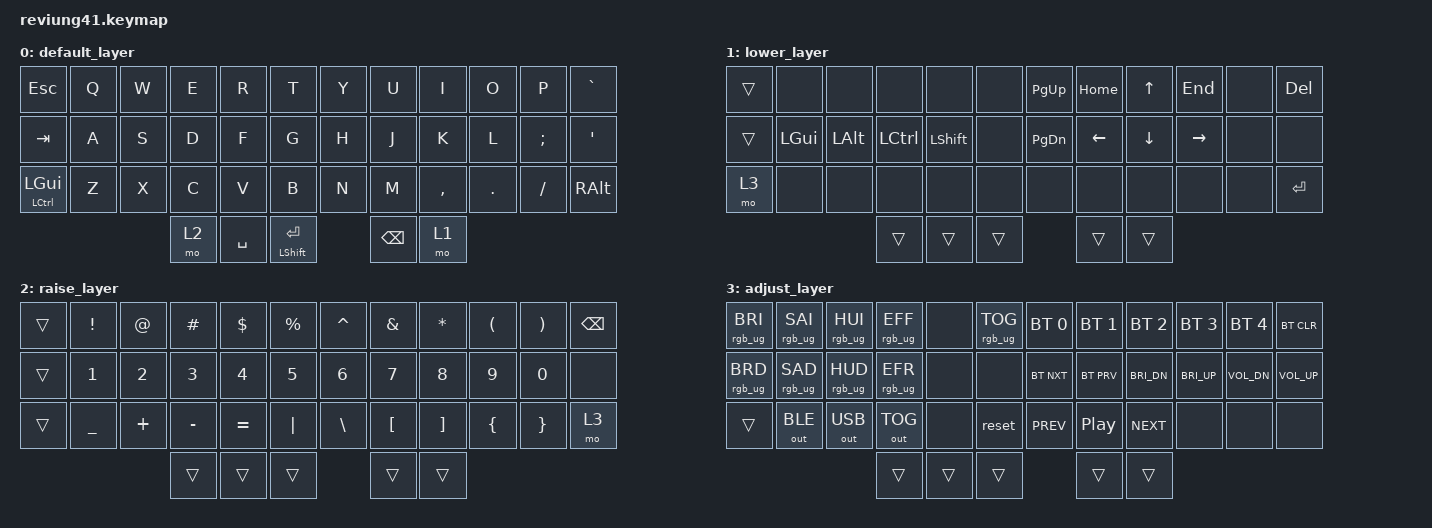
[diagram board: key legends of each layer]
/*
 * Copyright (c) 2020 The ZMK Contributors
 *
 * SPDX-License-Identifier: MIT
 */

#include <behaviors.dtsi>
#include <dt-bindings/zmk/keys.h>
#include <dt-bindings/zmk/bt.h>
#include <dt-bindings/zmk/rgb.h>
#include <dt-bindings/zmk/outputs.h>

/ {
        keymap {
                compatible = "zmk,keymap";

                default_layer {
// -------------------------------------------------------------------------------------
// | ESC |  Q  |  W  |  E  |  R  |  T  |   |  Y  |  U   |  I  |  O  |  P  |   GRAVE    |
// | TAB |  A  |  S  |  D  |  F  |  G  |   |  H  |  J   |  K  |  L  |  ;  |    '      |
// | LCTRL & LGUI |  Z  |  X  |  C  |  V  |  B  |   |  N  |  M   |  ,  |  .  |  /  | LALT |
//                        | RSE | SPC | MT(LEFT_SHIFT, RET) | BSPC  | LWR |
                        bindings = <
   &kp ESC   &kp Q &kp W &kp E &kp R &kp T   &kp Y &kp U  &kp I     &kp O   &kp P    &kp GRAVE
   &kp TAB   &kp A &kp S &kp D &kp F &kp G   &kp H &kp J  &kp K     &kp L   &kp SEMI &kp SQT
   &mt LCTRL LGUI  &kp Z &kp X &kp C &kp V &kp B   &kp N &kp M  &kp COMMA &kp DOT &kp FSLH &kp RALT
                        &mo 2 &kp SPC &mt LSHFT RET &kp BSPC &mo 1
                        >;
                };

                lower_layer {
// ----------------------------------------------------------------------------------
// |    |    |    |   |    |    |  |  PG_UP  |  HOME  | UP | END |    | DELETE   |
// |    |  LEFT_GUI  |  LEFT_ALT  |  LEFT_CONTROL  |  LEFT_SHIFT  | "|" |   | PG_Dn | LFT |  DWN | RGT |     |       |
// |    |  |  |  | |    |   | |  | | | | RET |
//                       | ADJ  |     | MT(LEFT_SHIFT, RET) |  |     |
                        bindings = <
   &trans &none  &none      &none &none &none      &kp PG_UP &kp HOME &kp UP    &kp END  &none  &kp DEL
   &trans &kp LGUI &kp LALT &kp LCTRL &kp LSHFT &none     &kp PG_DN  &kp LEFT &kp DOWN    &kp RIGHT &none &none
   &mo 3 &none   &none    &none &none &none        &none  &none  &none &none &none &kp RET
                                 &trans      &trans       &trans        &trans       &trans
                        >;
                };

                raise_layer {
// -----------------------------------------------------------------------------------------
// |    |  1  |  2  |  3  |  4  |  5  |   |  6  |  7  |  8  |  9  |  0  |  BACKSPACE   |
// |    |  !  |  @  |  #  |  $  |  %  |   |  ^  |  &  |  *  |  (  |  )  |     |
// |    |  _  |  +  |  -  |  =  |  |  |   |  \  |  [  |  ]  |  {  |  }  |  RETURN   |
//                       |     |  | MT(LEFT_SHIFT, RET) |    | ADJ |
                        bindings = <
   &trans &kp EXCL &kp AT &kp HASH &kp DLLR &kp PERCENT        &kp CARET &kp AMPS &kp ASTRK &kp LPAR &kp RPAR &kp BSPC
   &trans &kp N1 &kp N2 &kp N3  &kp N4  &kp N5      &kp N6    &kp N7    &kp N8    &kp N9    &kp N0    &none 
   &trans &kp UNDER   &kp PLUS  &kp MINUS  &kp EQUAL  &kp PIPE       &kp BACKSLASH    &kp LBKT     &kp RBKT    &kp LBRC   &kp RBRC   &mo 3
                                &trans      &trans       &trans        &trans      &trans
                        >;
                };

                adjust_layer {
// -----------------------------------------------------------------------------------------
// | RGB BRI+ | RGB SAT+ | RGB HUE+ | RGB ANI+ |    | RGB TOG |   |  BT1  | BT2 | BT3 | BT4 | BT5 | BT CLR |
// | RGB BRI- | RGB SAT- | RGB HUE- | RGB ANI+ |    |         |   |  BT_NEXT     | BT_PREV    | BRIGHT UP    | BRIGHT DOWN    | VOL DOWN    | VOL UP       |
// | Toggle BLE    | SLEEP MODE | POWER OFF | POWER OFF (C) |    |         |   | RESET |     |     |     |     |        |
//                                              |     |     |     |     |     |
                        bindings = <
   &rgb_ug RGB_BRI &rgb_ug RGB_SAI &rgb_ug RGB_HUI &rgb_ug RGB_EFF &none &rgb_ug RGB_TOG    &bt BT_SEL 0 &bt BT_SEL 1 &bt BT_SEL 2 &bt BT_SEL 3 &bt BT_SEL 4 &bt BT_CLR
   &rgb_ug RGB_BRD &rgb_ug RGB_SAD &rgb_ug RGB_HUD &rgb_ug RGB_EFR &none &none             &bt BT_NXT        &bt BT_PRV        &kp C_BRI_DN &kp C_BRI_UP &kp C_VOL_DN &kp C_VOL_UP
   &trans	           &out OUT_BLE           &out OUT_USB           &out OUT_TOG           &none &reset              &kp C_PREV       &kp C_PP        &kp C_NEXT       &none        &none        &none
                                                             &trans      &trans       &trans    &trans      &trans
                        >;
                };
        };
};
